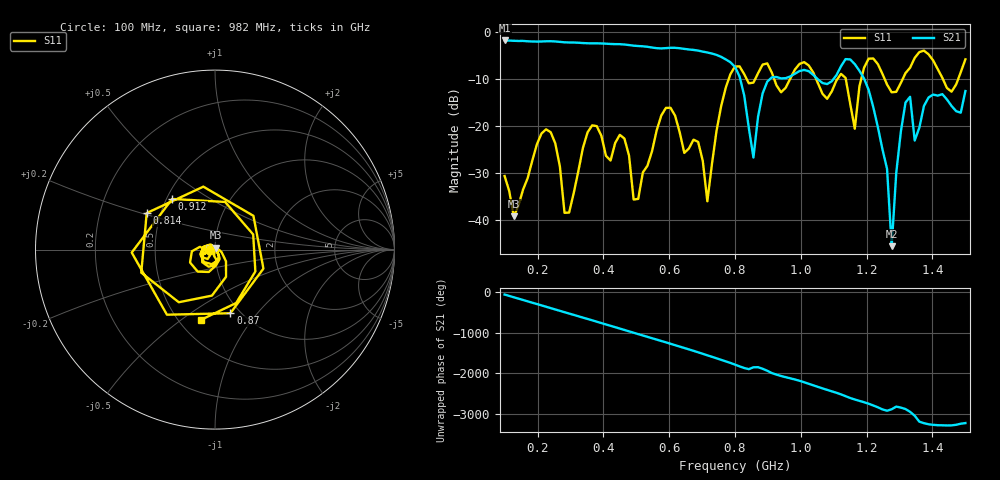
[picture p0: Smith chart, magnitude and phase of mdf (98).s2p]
! NanoVNA-App
! Date: 2025-09-26 09:40:39
! Start: 100MHz Stop: 1,5GHz Points: 101
! S-Parameter data: F S11 S21 S12 S22
# Hz S RI R 50
!  Frequency  S11_Real  S11_Imag  S21_Real  S21_Imag  S12_Real  S12_Imag  S22_Real  S22_Imag
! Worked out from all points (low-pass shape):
!   101 points, 100 MHz to 1.5 GHz, reference 50 ohm
!   highest |S21| = -1.79 dB at 100 MHz (marker M1); lowest = -45.5 dB at 1.276 GHz (marker M2)
!   |S21| within 3 dB of the highest: start of sweep to 740.4 MHz
!   lowest |S11| = -39.2 dB at 128 MHz (marker M3), VSWR 1.02, Z = 50.3 + j1.07 ohm
!   |S11| at or under -10 dB: start of sweep to 780.9 MHz; 1.046 GHz to 1.111 GHz (64.76 MHz wide, 6 % of centre); 1.255 GHz to 1.309 GHz (54.69 MHz wide, 4.27 % of centre) (the widest 3 of 7)
!   S12 and S22 are empty: the file has one direction only
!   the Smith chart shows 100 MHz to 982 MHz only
!   S11 on the Smith chart (normalised r, x): 100 MHz: 0.94, -0.01; 814 MHz: 0.42, +0.21; 870 MHz: 0.90, -0.74; 912 MHz: 0.53, +0.35; 982 MHz: 0.64, -0.60
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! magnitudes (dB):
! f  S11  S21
! 100 MHz  -30.6  -1.8
! 128 MHz  -39.2  -1.9
! 212 MHz  -21.6  -2.0
! 282 MHz  -38.5  -2.2
! 338 MHz  -24.6  -2.3
! 464 MHz  -22.7  -2.6
! 506 MHz  -35.5  -3.0
! 576 MHz  -17.8  -3.5
! 716 MHz  -36.0  -4.3
! 800 MHz  -7.3  -7.4
! 814 MHz  -7.3  -9.5
! 856 MHz  -10.8  -26.7
! 870 MHz  -8.8  -18.0
! 912 MHz  -8.6  -9.6
! 982 MHz  -8.0  -8.9
! 1.038 GHz  -8.6  -9.1
! 1.164 GHz  -20.6  -6.8
! 1.192 GHz  -7.6  -9.9
! 1.262 GHz  -11.2  -29.1
! 1.276 GHz  -12.8  -45.5
! 1.318 GHz  -8.7  -15.0
! 1.5 GHz  -5.8  -12.5
